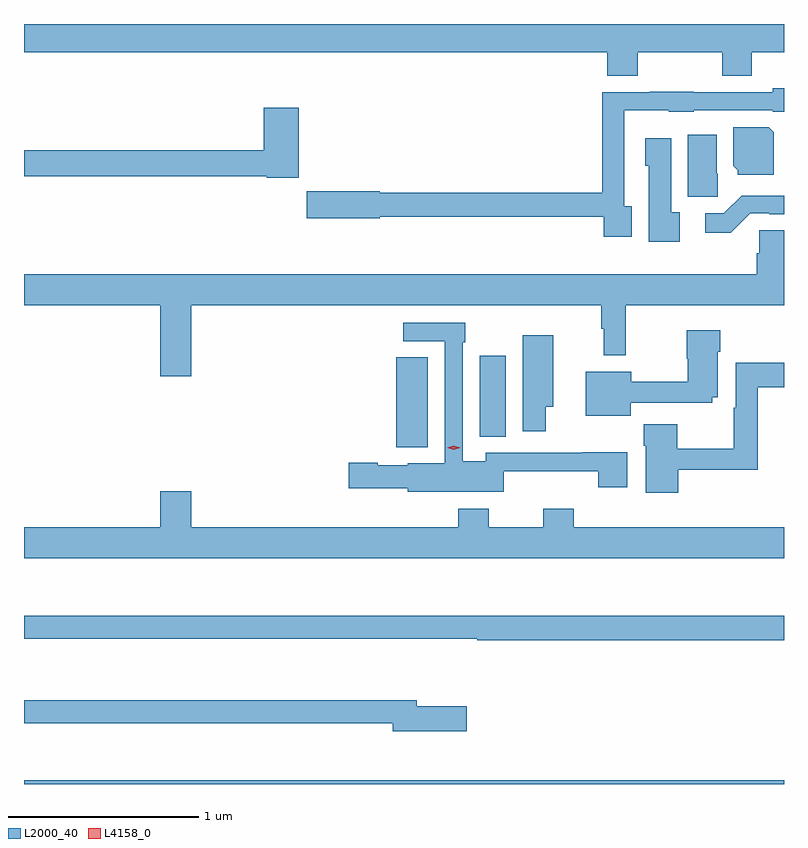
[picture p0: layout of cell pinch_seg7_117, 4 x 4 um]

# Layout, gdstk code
import gdstk
lib = gdstk.Library(unit=1e-6, precision=1e-09)
def R(c, l, rs):  # rectangles x0, y0, x1, y1
    for r in rs: c.add(gdstk.rectangle(r[:2], r[2:], *l))
def P(c, l, *ps):  # polygons
    for p in ps: c.add(gdstk.Polygon(p, *l))
L2000_40 = (2000, 40)
L4158_0 = (4158, 0)

pinch_seg7_117 = lib.new_cell('pinch_seg7_117')
R(pinch_seg7_117, L2000_40, [(919.536,1026.069,923.536,1026.088), (921.494,1027.841,921.661,1028.315), (921.935,1027.897,922.072,1028.323)])
P(pinch_seg7_117, L2000_40, [(922.767,1029.92),(923.212,1029.92),(923.212,1029.796),(923.367,1029.796),(923.367,1029.92),(923.536,1029.92),(923.536,1030.069),(919.536,1030.069),(919.536,1029.92),(922.607,1029.92),(922.607,1029.796),(922.767,1029.796)],
  [(922.735,1029.11),(922.695,1029.11),(922.695,1029.614),(922.929,1029.614),(922.929,1029.608),(923.061,1029.608),(923.061,1029.615),(923.478,1029.615),(923.478,1029.608),(923.536,1029.608),(923.536,1029.73),(923.478,1029.73),(923.478,1029.711),(923.061,1029.711),(923.061,1029.713),(922.829,1029.713),(922.829,1029.711),(922.579,1029.711),(922.579,1029.182),(921.408,1029.182),(921.408,1029.188),(921.024,1029.188),(921.024,1029.046),(921.408,1029.046),(921.408,1029.054),(922.587,1029.054),(922.587,1028.949),(922.735,1028.949)],
  [(920.981,1029.628),(920.798,1029.628),(920.798,1029.404),(919.536,1029.404),(919.536,1029.268),(920.814,1029.268),(920.814,1029.26),(920.981,1029.26)],
  [(923.482,1029.5),(923.456,1029.526),(923.27,1029.526),(923.27,1029.322),(923.292,1029.3),(923.292,1029.275),(923.482,1029.275)],
  [(923.186,1029.282),(923.182,1029.282),(923.182,1029.487),(923.03,1029.487),(923.03,1029.159),(923.186,1029.159)],
  [(922.987,1029.078),(922.942,1029.078),(922.942,1029.469),(922.805,1029.469),(922.805,1029.324),(922.823,1029.324),(922.823,1028.924),(922.987,1028.924)],
  [(923.358,1029.072),(923.458,1029.072),(923.458,1029.069),(923.536,1029.069),(923.536,1029.166),(923.314,1029.166),(923.22,1029.072),(923.121,1029.072),(923.121,1028.97),(923.256,1028.97)],
  [(920.416,1028.588),(922.573,1028.588),(922.573,1028.465),(922.588,1028.465),(922.588,1028.325),(922.702,1028.325),(922.702,1028.588),(923.536,1028.588),(923.536,1028.984),(923.406,1028.984),(923.406,1028.862),(923.393,1028.862),(923.393,1028.752),(919.536,1028.752),(919.536,1028.588),(920.252,1028.588),(920.252,1028.214),(920.416,1028.214)],
  [(922.062,1027.715),(922.559,1027.715),(922.559,1027.632),(922.711,1027.632),(922.711,1027.814),(922.475,1027.814),(922.475,1027.812),(921.966,1027.812),(921.966,1027.768),(921.846,1027.768),(921.846,1028.393),(921.859,1028.393),(921.859,1028.496),(921.531,1028.496),(921.531,1028.4),(921.75,1028.4),(921.75,1027.756),(921.555,1027.756),(921.555,1027.747),(921.398,1027.747),(921.398,1027.76),(921.246,1027.76),(921.246,1027.625),(921.555,1027.625),(921.555,1027.607),(922.062,1027.607)],
  [(922.73,1028.076),(923.158,1028.076),(923.158,1028.105),(923.188,1028.105),(923.188,1028.345),(923.201,1028.345),(923.201,1028.458),(923.023,1028.458),(923.023,1028.307),(923.03,1028.307),(923.03,1028.185),(922.732,1028.185),(922.732,1028.239),(922.493,1028.239),(922.493,1028.007),(922.73,1028.007)],
  [(922.282,1028.054),(922.321,1028.054),(922.321,1028.431),(922.16,1028.431),(922.16,1027.926),(922.282,1027.926)],
  [(922.979,1027.722),(923.399,1027.722),(923.399,1028.158),(923.536,1028.158),(923.536,1028.287),(923.283,1028.287),(923.283,1028.049),(923.271,1028.049),(923.271,1027.833),(922.974,1027.833),(922.974,1027.963),(922.798,1027.963),(922.798,1027.85),(922.808,1027.85),(922.808,1027.602),(922.979,1027.602)],
  [(923.536,1027.42),(922.43,1027.42),(922.43,1027.519),(922.27,1027.519),(922.27,1027.42),(921.981,1027.42),(921.981,1027.519),(921.821,1027.519),(921.821,1027.42),(920.416,1027.42),(920.416,1027.609),(920.252,1027.609),(920.252,1027.42),(919.536,1027.42),(919.536,1027.256),(923.536,1027.256)],
  [(923.536,1026.955),(919.536,1026.955),(919.536,1026.834),(921.922,1026.834),(921.922,1026.826),(923.536,1026.826)],
  [(921.865,1026.477),(921.604,1026.477),(921.604,1026.511),(919.536,1026.511),(919.536,1026.39),(921.476,1026.39),(921.476,1026.347),(921.865,1026.347)])
P(pinch_seg7_117, L4158_0, [(921.799,1027.829),(921.764,1027.838),(921.764,1027.839),(921.764,1027.839),(921.798,1027.849),(921.833,1027.84),(921.833,1027.84),(921.833,1027.839)])

lib.write_gds('pinch_seg7_117.gds')
